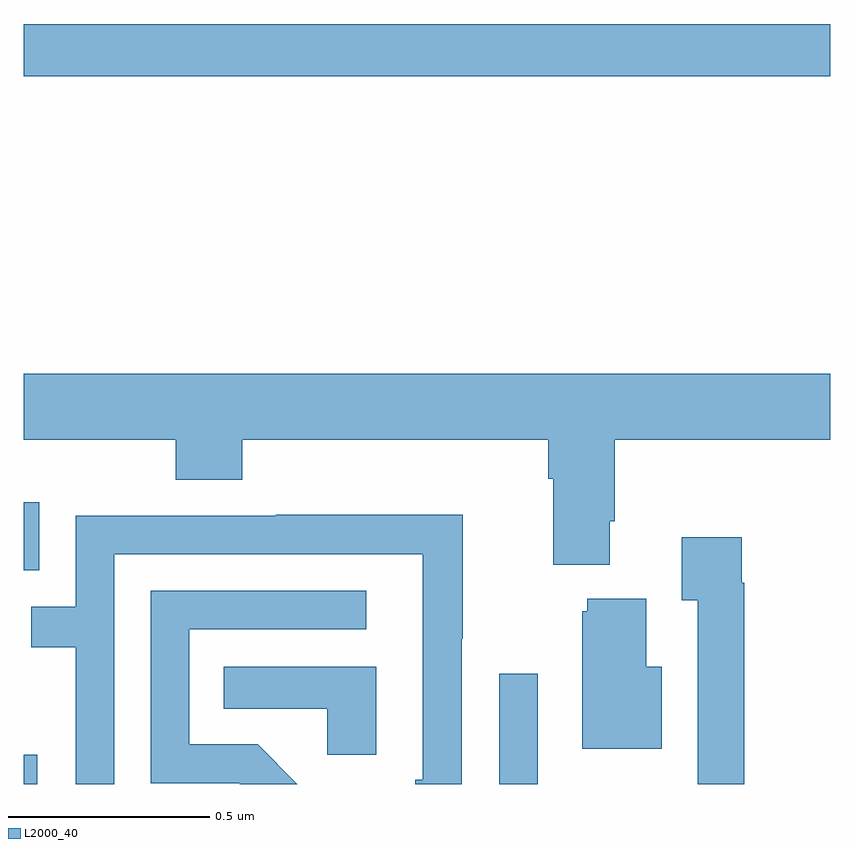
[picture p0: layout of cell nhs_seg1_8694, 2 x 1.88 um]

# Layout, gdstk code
import gdstk
lib = gdstk.Library(unit=1e-6, precision=1e-09)
def R(c, l, rs):  # rectangles x0, y0, x1, y1
    for r in rs: c.add(gdstk.rectangle(r[:2], r[2:], *l))
def P(c, l, *ps):  # polygons
    for p in ps: c.add(gdstk.Polygon(p, *l))
L2000_40 = (2000, 40)

nhs_seg1_8694 = lib.new_cell('nhs_seg1_8694')
R(nhs_seg1_8694, L2000_40, [(219,564.199,219.034,564.271), (220.179,564.199,220.275,564.472), (219,564.729,219.039,564.898), (219,565.954,221,566.083)])
P(nhs_seg1_8694, L2000_40, [(220.453,564.85),(220.466,564.85),(220.466,565.052),(221,565.052),(221,565.216),(219,565.216),(219,565.052),(219.377,565.052),(219.377,564.953),(219.542,564.953),(219.542,565.052),(220.301,565.052),(220.301,564.956),(220.313,564.956),(220.313,564.743),(220.453,564.743)],
  [(219.225,564.768),(219.99,564.768),(219.99,564.21),(219.971,564.21),(219.971,564.199),(220.086,564.199),(220.086,564.559),(220.089,564.559),(220.089,564.866),(219.625,564.866),(219.625,564.864),(219.129,564.864),(219.129,564.639),(219.019,564.639),(219.019,564.538),(219.129,564.538),(219.129,564.199),(219.225,564.199)],
  [(220.787,564.698),(220.78,564.698),(220.78,564.811),(220.631,564.811),(220.631,564.655),(220.671,564.655),(220.671,564.199),(220.787,564.199)],
  [(219.58,564.297),(219.411,564.297),(219.411,564.582),(219.85,564.582),(219.85,564.678),(219.315,564.678),(219.315,564.201),(219.534,564.201),(219.536,564.199),(219.678,564.199)],
  [(220.582,564.49),(220.543,564.49),(220.543,564.658),(220.397,564.658),(220.397,564.627),(220.385,564.627),(220.385,564.287),(220.582,564.287)],
  [(219.874,564.49),(219.496,564.49),(219.496,564.386),(219.753,564.386),(219.753,564.271),(219.874,564.271)])

lib.write_gds('nhs_seg1_8694.gds')
